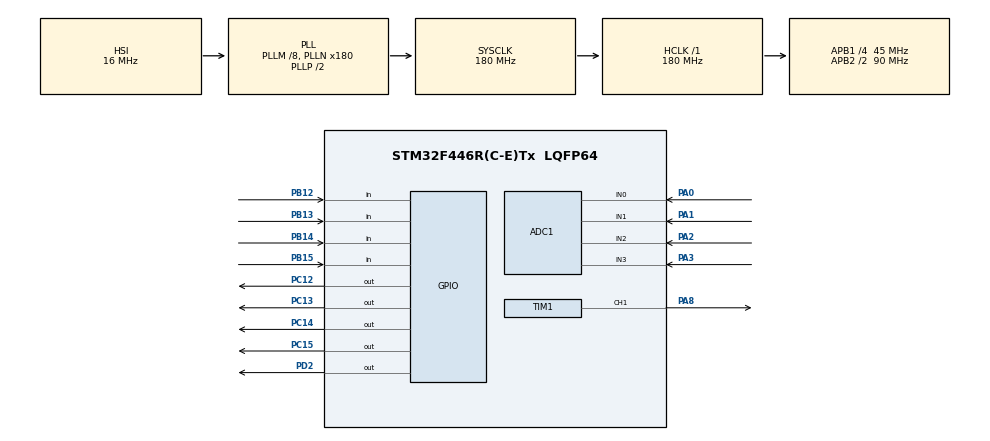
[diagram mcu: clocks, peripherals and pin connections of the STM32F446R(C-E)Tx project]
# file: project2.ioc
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ADC1.Channel-0\#ChannelRegularConversion=ADC_CHANNEL_0
ADC1.Channel-1\#ChannelRegularConversion=ADC_CHANNEL_1
ADC1.Channel-2\#ChannelRegularConversion=ADC_CHANNEL_2
ADC1.Channel-3\#ChannelRegularConversion=ADC_CHANNEL_3
ADC1.DMAContinuousRequests=ENABLE
ADC1.ExternalTrigConv=ADC_EXTERNALTRIGCONV_T8_TRGO
ADC1.NbrOfConversion=4
ADC1.NbrOfConversionFlag=1
ADC1.Rank-0\#ChannelRegularConversion=1
ADC1.Rank-1\#ChannelRegularConversion=2
ADC1.Rank-2\#ChannelRegularConversion=3
ADC1.Rank-3\#ChannelRegularConversion=4
ADC1.SamplingTime-0\#ChannelRegularConversion=ADC_SAMPLETIME_15CYCLES
ADC1.SamplingTime-1\#ChannelRegularConversion=ADC_SAMPLETIME_15CYCLES
ADC1.SamplingTime-2\#ChannelRegularConversion=ADC_SAMPLETIME_15CYCLES
ADC1.SamplingTime-3\#ChannelRegularConversion=ADC_SAMPLETIME_15CYCLES
ADC1.ScanConvMode=ENABLE
ADC1.master=1
Dma.ADC1.0.Direction=DMA_PERIPH_TO_MEMORY
Dma.ADC1.0.FIFOMode=DMA_FIFOMODE_DISABLE
Dma.ADC1.0.Instance=DMA2_Stream0
Dma.ADC1.0.MemDataAlignment=DMA_MDATAALIGN_WORD
Dma.ADC1.0.MemInc=DMA_MINC_ENABLE
Dma.ADC1.0.Mode=DMA_CIRCULAR
Dma.ADC1.0.PeriphDataAlignment=DMA_PDATAALIGN_WORD
Dma.ADC1.0.PeriphInc=DMA_PINC_DISABLE
Dma.ADC1.0.Priority=DMA_PRIORITY_LOW
Dma.Request0=ADC1
Mcu.Family=STM32F4
Mcu.Name=STM32F446R(C-E)Tx
Mcu.Package=LQFP64
NVIC.ADC_IRQn=true\:0\:0\:false\:false\:true\:true\:true\:true
NVIC.DMA2_Stream0_IRQn=true\:0\:0\:false\:false\:true\:false\:true\:true
NVIC.PriorityGroup=NVIC_PRIORITYGROUP_4
NVIC.TIM6_DAC_IRQn=true\:0\:0\:false\:false\:true\:true\:true\:true
NVIC.TIM8_UP_TIM13_IRQn=true\:0\:0\:false\:false\:true\:true\:true\:true
PA0-WKUP.Signal=ADCx_IN0
PA1.Signal=ADCx_IN1
PA13.Mode=Serial_Wire
PA13.Signal=SYS_JTMS-SWDIO
PA14.Mode=Serial_Wire
PA14.Signal=SYS_JTCK-SWCLK
PA2.Signal=ADCx_IN2
PA3.Signal=ADCx_IN3
PA8.Signal=S_TIM1_CH1
PB12.Signal=GPIO_Input
PB13.Signal=GPIO_Input
PB14.Signal=GPIO_Input
PB15.Signal=GPIO_Input
PC12.Signal=GPIO_Output
PC13.Signal=GPIO_Output
PC14-OSC32_IN.Signal=GPIO_Output
PC15-OSC32_OUT.Signal=GPIO_Output
PD2.Signal=GPIO_Output
PH0-OSC_IN.Mode=HSE-External-Oscillator
PH0-OSC_IN.Signal=RCC_OSC_IN
PH1-OSC_OUT.Mode=HSE-External-Oscillator
PH1-OSC_OUT.Signal=RCC_OSC_OUT
ProjectManager.HeapSize=0x200
ProjectManager.StackSize=0x400
ProjectManager.TargetToolchain=STM32CubeIDE
RCC.AHBFreq_Value=180000000
RCC.APB1CLKDivider=RCC_HCLK_DIV4
RCC.APB1Freq_Value=45000000
RCC.APB1TimFreq_Value=90000000
RCC.APB2CLKDivider=RCC_HCLK_DIV2
RCC.APB2Freq_Value=90000000
RCC.APB2TimFreq_Value=180000000
RCC.CortexFreq_Value=180000000
RCC.HCLKFreq_Value=180000000
RCC.HSE_VALUE=16000000
RCC.PLLM=8
RCC.PLLN=180
RCC.SYSCLKFreq_VALUE=180000000
RCC.SYSCLKSource=RCC_SYSCLKSOURCE_PLLCLK
RCC.USBFreq_Value=180000000
RCC.VCOOutputFreq_Value=360000000
SH.ADCx_IN0.0=ADC1_IN0,IN0
SH.ADCx_IN1.0=ADC1_IN1,IN1
SH.ADCx_IN2.0=ADC1_IN2,IN2
SH.ADCx_IN3.0=ADC1_IN3,IN3
SH.S_TIM1_CH1.0=TIM1_CH1,PWM Generation1 CH1
TIM1.Channel-PWM\ Generation1\ CH1=TIM_CHANNEL_1
TIM6.Period=5000-1
TIM6.Prescaler=4500-1
TIM8.Period=1000-1
TIM8.Prescaler=180-1
TIM8.TIM_MasterOutputTrigger=TIM_TRGO_UPDATE
VP_TIM6_VS_ClockSourceINT.Mode=Enable_Timer
VP_TIM8_VS_ClockSourceINT.Mode=Internal
board=custom

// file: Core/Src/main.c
/* USER CODE BEGIN Header */
/**
 ******************************************************************************
 * @file           : main.c
 * @brief          : Main program body
 ******************************************************************************
 * @attention
 *
 * Copyright (c) 2024 STMicroelectronics.
 * All rights reserved.
 *
 * This software is licensed under terms that can be found in the LICENSE file
 * in the root directory of this software component.
 * If no LICENSE file comes with this software, it is provided AS-IS.
 *
 ******************************************************************************
 */
/* USER CODE END Header */
#include "main.h"
#include "adc.h"
#include "dma.h"
#include "tim.h"
#include "gpio.h"

/* USER CODE BEGIN PV */
int count=0;
int count2=0;
/* USER CODE END PV */

void SystemClock_Config(void);

int main(void)
{

  /* MCU Configuration--------------------------------------------------------*/

  /* Reset of all peripherals, Initializes the Flash interface and the Systick. */
  HAL_Init();

  /* Configure the system clock */
  SystemClock_Config();

  /* Initialize all configured peripherals */
  MX_GPIO_Init();
  MX_DMA_Init();
  MX_ADC1_Init();
  MX_TIM8_Init();
  MX_TIM6_Init();
  MX_TIM1_Init();
  /* USER CODE BEGIN 2 */

	HAL_TIM_Base_Start_IT(&htim6);

  /* USER CODE END 2 */

  /* Infinite loop */
	while (1)
	{

	}
}

void SystemClock_Config(void)
{
  RCC_OscInitTypeDef RCC_OscInitStruct = {0};
  RCC_ClkInitTypeDef RCC_ClkInitStruct = {0};

  /** Configure the main internal regulator output voltage
  */
  __HAL_RCC_PWR_CLK_ENABLE();
  __HAL_PWR_VOLTAGESCALING_CONFIG(PWR_REGULATOR_VOLTAGE_SCALE1);

  /** Initializes the RCC Oscillators according to the specified parameters
  * in the RCC_OscInitTypeDef structure.
  */
  RCC_OscInitStruct.OscillatorType = RCC_OSCILLATORTYPE_HSI;
  RCC_OscInitStruct.HSIState = RCC_HSI_ON;
  RCC_OscInitStruct.HSICalibrationValue = RCC_HSICALIBRATION_DEFAULT;
  RCC_OscInitStruct.PLL.PLLState = RCC_PLL_ON;
  RCC_OscInitStruct.PLL.PLLSource = RCC_PLLSOURCE_HSI;
  RCC_OscInitStruct.PLL.PLLM = 8;
  RCC_OscInitStruct.PLL.PLLN = 180;
  RCC_OscInitStruct.PLL.PLLP = RCC_PLLP_DIV2;
  RCC_OscInitStruct.PLL.PLLQ = 2;
  RCC_OscInitStruct.PLL.PLLR = 2;
  if (HAL_RCC_OscConfig(&RCC_OscInitStruct) != HAL_OK)
  {
    Error_Handler();
  }

  /** Activate the Over-Drive mode
  */
  if (HAL_PWREx_EnableOverDrive() != HAL_OK)
  {
    Error_Handler();
  }

  /** Initializes the CPU, AHB and APB buses clocks
  */
  RCC_ClkInitStruct.ClockType = RCC_CLOCKTYPE_HCLK|RCC_CLOCKTYPE_SYSCLK
                              |RCC_CLOCKTYPE_PCLK1|RCC_CLOCKTYPE_PCLK2;
  RCC_ClkInitStruct.SYSCLKSource = RCC_SYSCLKSOURCE_PLLCLK;
  RCC_ClkInitStruct.AHBCLKDivider = RCC_SYSCLK_DIV1;
  RCC_ClkInitStruct.APB1CLKDivider = RCC_HCLK_DIV4;
  RCC_ClkInitStruct.APB2CLKDivider = RCC_HCLK_DIV2;

  if (HAL_RCC_ClockConfig(&RCC_ClkInitStruct, FLASH_LATENCY_5) != HAL_OK)
  {
    Error_Handler();
  }
}

/* USER CODE BEGIN 4 */

void HAL_TIM_PeriodElapsedCallback(TIM_HandleTypeDef *htim)
{

	if(htim->Instance==TIM6)
	{

		HAL_GPIO_TogglePin(GPIOD, GPIO_PIN_2);
		//GPIOD->ODR ^= GPIO_PIN_2;

		if(!(HAL_GPIO_ReadPin(GPIOB, GPIO_PIN_13)))
		{
			count++;
			HAL_GPIO_TogglePin(GPIOC, GPIO_PIN_13);
			count2++;
		}

		if(!(HAL_GPIO_ReadPin(GPIOB, GPIO_PIN_14)))
				{
					HAL_GPIO_TogglePin(GPIOC, GPIO_PIN_14);
				}

		if(!(HAL_GPIO_ReadPin(GPIOB, GPIO_PIN_15)))
				{
					HAL_GPIO_TogglePin(GPIOC, GPIO_PIN_15);
				}

		if(!(HAL_GPIO_ReadPin(GPIOB, GPIO_PIN_12)))
				{
					HAL_GPIO_TogglePin(GPIOC, GPIO_PIN_12);
				}

	}

	/*else if(htim->Instance==TIM6)
	{
		HAL_GPIO_TogglePin(GPIOC, GPIO_PIN_12);
	}

	else if(htim->Instance==TIM6)
	{
		HAL_GPIO_TogglePin(GPIOC, GPIO_PIN_13);
	}

	else if(htim->Instance==TIM6)
	{
		HAL_GPIO_TogglePin(GPIOC, GPIO_PIN_14);
	}

	else if(htim->Instance==TIM6)
	{
		HAL_GPIO_TogglePin(GPIOC, GPIO_PIN_15);
	}*/

}
/* USER CODE END 4 */

void Error_Handler(void)
{
	__disable_irq();
	while (1)
	{
	}
}
